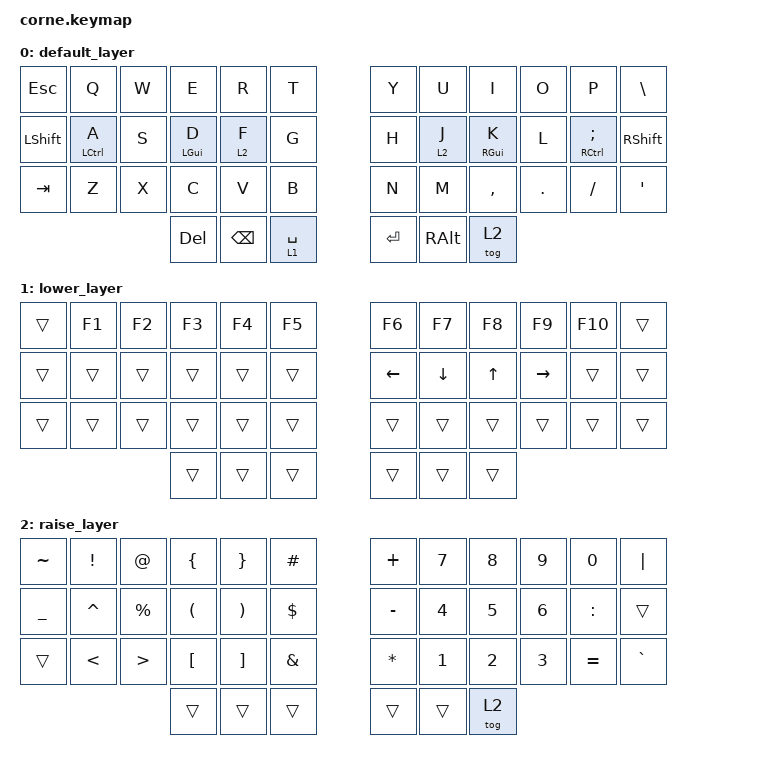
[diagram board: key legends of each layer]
/*
 * Copyright (c) 2020 The ZMK Contributors
 *
 * SPDX-License-Identifier: MIT
 */

#include <behaviors.dtsi>
#include <dt-bindings/zmk/keys.h>
#include <dt-bindings/zmk/bt.h>

/ {
        behaviors {
            hml: home_row_mod_left {
                compatible = "zmk,behavior-hold-tap";
                #binding-cells = <2>;
                flavor = "balanced";
                require-prior-idle-ms = <150>;
                tapping-term-ms = <280>;
                quick-tap-ms = <160>;
                bindings = <&kp>, <&kp>;
                // hold-trigger-key-positions = < ... >; // List of keys on the right side of the keyboard
                hold-trigger-on-release;
            };
            hmr: home_row_mod_right {
                compatible = "zmk,behavior-hold-tap";
                #binding-cells = <2>;
                flavor = "balanced";
                require-prior-idle-ms = <150>;
                tapping-term-ms = <280>;
                quick-tap-ms = <160>;
                bindings = <&kp>, <&kp>;
                // hold-trigger-key-positions = < ... >; // List of keys on the left side of the keyboard
                hold-trigger-on-release;
            };
            lt: layer_tap {
                compatible = "zmk,behavior-hold-tap";
                #binding-cells = <2>;
                flavor = "tap-preferred";
                tapping-term-ms = <160>;
                quick-tap-ms = <150>;
                bindings = <&mo>, <&kp>;
                display-name = "Layer-Tap";
            };
        };

        keymap {
                compatible = "zmk,keymap";

// -----------------------------------------------------------------------------------------
// | ESC  |  Q  |  W  |  E  |  R  |  T  |   |  Y  |  U  |  I  |  O  |  P  |  \   |
// | SHFT |  A  |  S  |  D  |  F  |  G  |   |  H  |  J  |  K  |  L  |  ;  | SHFT |
// |      | CTRL|     | GUI | LY2 |     |   |     | LY2 | GUI |     | CTRL|      |
// | TAB  |  Z  |  X  |  C  |  V  |  B  |   |  N  |  M  |  ,  |  .  |  /  |  '   |
// -----------------------------------------------------------------------------------------
//                    | DEL | BSPC| SPC |   | RET | ALT | TOG2|
//                    |     |     | LY1 |   |     |     |     |
                default_layer {
                        bindings = <
   &kp ESC   &kp Q &kp W &kp E &kp R &kp T   &kp Y &kp U  &kp I     &kp O   &kp P    &kp BSLH
   &kp LSHFT &hml LCTRL A &kp S &hml LGUI D &lt 2 F &kp G   &kp H &lt 2 J  &hmr RGUI K     &kp L   &hmr RCTRL SEMI &kp RSHFT
   &kp TAB &kp Z &kp X &kp C &kp V &kp B   &kp N &kp M  &kp COMMA &kp DOT &kp FSLH &kp SQT
                  &kp DEL &kp BSPC &lt 1 SPACE   &kp RET &kp RALT &tog 2
                        >;
                };
// -----------------------------------------------------------------------------------------
// |      |  F1 |  F2 |  F3 |  F4 |  F5 |   |  F6 |  F7 |  F8 |  F9 | F10 |      |
// |      |     |     |     |     |     |   | LFT | DWN |  UP | RGT |     |      |
// |      |     |     |     |     |     |   |     |     |     |     |     |      |
// -----------------------------------------------------------------------------------------
//                    |     |     | ### |   |     |     |     |
                lower_layer {
                        bindings = <
   &trans    &kp F1       &kp F2       &kp F3       &kp F4       &kp F5         &kp F6   &kp F7   &kp F8 &kp F9    &kp F10  &trans
   &trans &trans &trans &trans &trans &trans   &kp LEFT &kp DOWN &kp UP &kp RIGHT &trans &trans
   &trans  &trans       &trans       &trans       &trans       &trans         &trans   &trans   &trans &trans    &trans &trans
                                    &trans     &trans       &trans      &trans  &trans   &trans
                        >;
                };

// -----------------------------------------------------------------------------------------
// |  ~   |  !  |  @  |  {  |  }  |  #  |   |  +  |  7  |  8  |  9  |  0  |  |   |
// |  _   |  ^  |  %  |  (  |  )  |  $  |   |  -  |  4  |  5  |  6  |  :  |      |
// |      |  <  |  >  |  [  |  ]  |  &  |   |  *  |  1  |  2  |  3  |  =  |  `   |
// -----------------------------------------------------------------------------------------
//                    |     |     |     |   |     |     | TOG2|
                raise_layer {
                        bindings = <
   &kp TILDE  &kp EXCL &kp AT &kp LBRC &kp RBRC &kp HASH   &kp PLUS &kp N7  &kp N8 &kp N9 &kp N0 &kp PIPE
   &kp UNDER &kp CARET   &kp PRCNT &kp LPAR   &kp RPAR   &kp DLLR      &kp MINUS &kp N4 &kp N5  &kp N6 &kp COLON &trans
   &trans  &kp LT &kp GT   &kp LBKT &kp RBKT   &kp AMPS       &kp STAR &kp N1  &kp N2  &kp N3 &kp EQUAL &kp GRAVE
                             &trans &trans   &trans   &trans   &trans    &tog 2
                        >;
                };
        };
};
